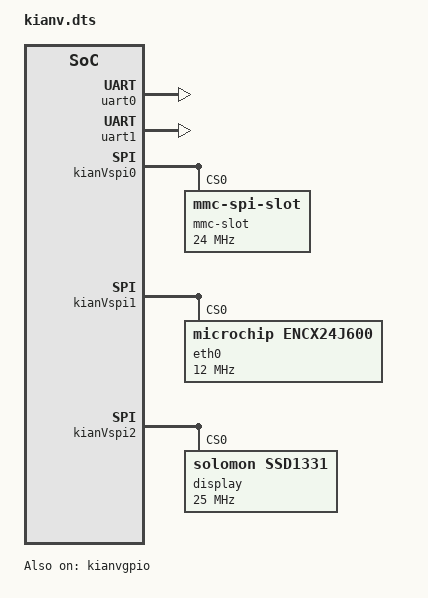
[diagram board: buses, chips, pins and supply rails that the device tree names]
/dts-v1/;

/ {
	#address-cells = <0x01>;
	#size-cells = <0x01>;

  /*
	chosen {
		//bootargs = "earlycon=uart8250,mmio,0x10000000,3000000 console=ttyS0 debug";
		//bootargs = "mem=32M@0x40000000 rootwait console=nitrouart earlycon=sbi ubi.mtd=5 root=ubi0:rootfs rootfstype=ubifs init=/sbin/init swiotlb=32";
		//bootargs = "mem=32M@0x80000000 rootwait earlycon=sbi debug";
    // bootargs = "mem=32M@0x80000000 earlycon=sbi debug console=ttyS0 debug";

	};
  */
    chosen {
        //bootargs = "console=ttyS0 earlycon=sbi debug";
        ///bootargs = "earlycon=sbi debug console=ttyS0 memtest=0 root=/dev/mmcblk0p2 rootwait rootfstype=ext2 debug splash fbcon=map:0";
        //bootargs = "earlycon=sbi debug fbcon=map:0 root=/dev/mmcblk0p2 rootwait rootfstype=ext2";
        bootargs = "earlycon=sbi debug console=ttyS0 memtest=0 root=/dev/mmcblk0p2 rootwait rootfstype=ext2 debug";

        //bootargs = "mem=28M console=hvc0 earlyprintk=sbi earlycon=sbi debug";
        //linux,stdout-path = "uart0:3000000";
//		bootargs = "earlycon=sbi";
    };
    /*
  memory@80000000 {
      device_type = "memory";
      reg = <0x80000000 0x1e00000>;
  };
  */

	memory@80000000 {
		device_type = "memory";
//    reg = <0x00 0x80000000 0x00 0x1f00000>;
      reg = <0x80000000 (1024*1024*32)>;
	};

	cpus {
		#address-cells = <0x01>;
		#size-cells = <0x00>;
		timebase-frequency = <1000000>;
		//timebase-frequency = <1000>;

		cpu@0 {
			phandle = <0x01>;
			device_type = "cpu";
			reg = <0x00>;
			status = "okay";
			compatible = "kianv","riscv";
			riscv,isa = "rv32ima";
			mmu-type = "riscv,sv32";
			uarch = "KianV,sv32";

			interrupt-controller {
				#interrupt-cells = <0x01>;
				interrupt-controller;
				compatible = "riscv,cpu-intc";
				phandle = <0x02>;
			};
		};

		cpu-map {

			cluster0 {

				core0 {
					cpu = <0x01>;
				};
			};
		};
	};

	soc {
		#address-cells = <0x01>;
		#size-cells = <0x01>;
		compatible = "simple-bus";
		ranges;

    uart0: uart@10000000 {
      device_type = "serial";
			clock-frequency = <0x1000000>;
			reg = <0x10000000 0x100>;
			compatible = "ns16850";
      status = "okay";
		};

    uart1: uart@10000100 {
      device_type = "serial";
			clock-frequency = <0x1000000>;
			reg = <0x10000100 0x100>;
			compatible = "ns16850";
      status = "okay";
		};

		poweroff {
			value = <0x5555>;
			offset = <0x00>;
			regmap = <0x04>;
			compatible = "syscon-poweroff";
		};

		reboot {
			value = <0x7777>;
			offset = <0x00>;
			regmap = <0x04>;
			compatible = "syscon-reboot";
		};

		syscon@11100000 {
			phandle = <0x04>;
			reg = <0x11100000 0x1000>;
			compatible = "syscon";
		};

		clint@11000000 {
			interrupts-extended = <0x02 0x03 0x02 0x07>;
			reg = <0x11000000 0x10000>;
			compatible = "sifive,clint0\0riscv,clint0";
		};

    kianvgpio: gpio@10000700 {
      compatible = "kianV,kianv-gpio";
      reg = <0x10000700 0x1000>;
      gpio-controller;
      #gpio-cells = <2>;
			status = "okay";
  };


   kianVspi0: spi@10500000 {
       compatible = "kianVfpga,kianVspi-simple";
       reg = <0x10500000 0x100>;
       status = "okay";
       kianVfpga,num-cs = <1>;
       kianVfpga,sck-frequency = <0>; // sd card works only with small values
       spi-cpha = <0>;
       spi-cpol = <0>;

       #address-cells = <1>;
       #size-cells    = <0>;

 //    flash: flash@0 {
 //      compatible = "spi-nor";
 //      reg = <0x0>;
 //
 //      #address-cells = <0x1>;
 //      #size-cells    = <0x1>;
 //      partition@0 {
 //        label = "spi-nor-flash";
 //        reg = <0x00000000 0x02000000>;
 //      };
 //    };

         /*
         partition@0 {
           label = "fpga";
           reg = <0x00000000 0x00020000>;
         };

         partition@20000 {
           label = "bios";
           reg = <0x00020000 0x00010000>;
         };

         partition@30000 {
           label = "dt";
           reg = <0x00030000 0x00010000>;
         };

         partition@40000 {
           label = "kernel";
           reg = <0x00040000 0x005c0000>;
         };

         partition@600000 {
           label = "ubi";
           reg = <0x00600000 0x00a00000>;
         };
        };
        */

 //      spidev0: spidev@0 {
 //        //compatible = "linux,spidev";
 //        compatible = "kianVfpga,kianVspi-simple";
 //        reg = <0>;
 //        spi-max-frequency = <15000000>;
 //        status = "okay";
 //       };

       mmc-slot@0 {
         compatible = "mmc-spi-slot";
         //bus-width = <1>;
         spi-max-frequency = <24000000>; /* 24 MHz max freq */
         voltage-ranges = <3200 3400>; /* Voltage range in millivolts */
         reg = <0>; /* Chip Select 0 */
         status = "okay";
         disable-wp;
         non-removable;
         no-sdio;
         no-mmc;
       };
      };
   };

   kianVspi1: spi@10500100 {
       compatible = "kianVfpga,kianVspi-simple2";
       reg = <0x10500100 0x100>;
       status = "okay";
       kianVfpga,num-cs = <1>;
       kianVfpga,sck-frequency = <0>; // sd card works only with small values
       spi-cpha = <0>;
       spi-cpol = <0>;

       #address-cells = <1>;
       #size-cells    = <0>;

			eth0: encx24j600@0 {
				compatible = "microchip,encx24j600";
       #address-cells = <0x1>;
       #size-cells    = <0x1>;
				reg = <0>; /* CE0 */
//				pinctrl-names = "default";
//				pinctrl-0 = <&eth1_pins>;
//				interrupt-parent = <&gpio>;
//				interrupts = <25 0x2>; /* falling edge */
				spi-max-frequency = <12000000>;
				status = "okay";
			};
   };

   kianVspi2: spi@10500200 {
       compatible = "kianVfpga,kianVspi-simple3";
       reg = <0x10500200 0x100>;
       status = "okay";
       kianVfpga,num-cs = <1>;
       kianVfpga,sck-frequency = <0>; // sd card works only with small values
       spi-cpha = <0>;
       spi-cpol = <0>;

       #address-cells = <1>;
       #size-cells    = <0>;

			display@0 {
//rotate = <270>;
        //bgr;
        fps = <25>;
        compatible = "solomon,ssd1331";
        spi-max-frequency = <25000000>;
        reg = <0>;
        regwidth = <8>;
        buswidth = <8>;
        //verbose = <3>;
        //debug = <7>;
        status = "okay";
        //reset-gpios = <&pioC 3 0>; /* PC3 - J4.33 */
        //dc-gpios = <&pioC 4 0>;    /* PC4 - J4.31 */
			};
   };
};
